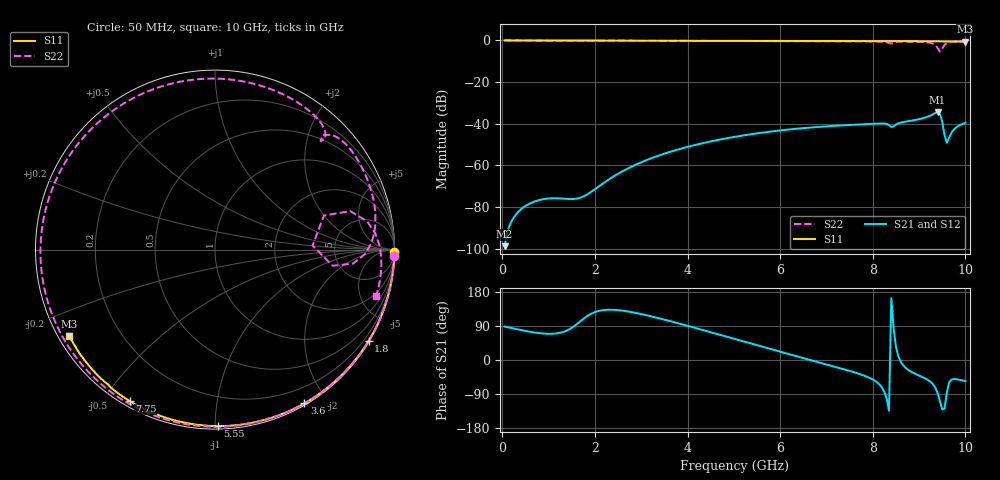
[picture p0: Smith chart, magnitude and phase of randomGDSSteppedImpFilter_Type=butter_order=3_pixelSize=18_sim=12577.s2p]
! freq	dB(S11)	phase(S11)	dB(S12)	phase(S12)
!  dB(S21)	phase(S21)	dB(S22)	phase(S22)
!S-par simulation data
#  GHz  S  DB  R 50
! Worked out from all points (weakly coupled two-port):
!   200 points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, 50 MHz to 10 GHz, reference 50 ohm
!   highest |S21| = -34.44 dB at 9.4 GHz (marker M1); lowest = -98.8 dB at 50 MHz (marker M2)
!   lowest |S11| = -0.5 dB at 10 GHz (marker M3), VSWR 34.46, Z = 1.56 - j13.7 ohm
!   |S11| at or under -10 dB: nowhere
!   |S22| runs from -5.3 to 0.0 dB; largest |S21 - S12| = 0
!   S11 on the Smith chart (normalised r, x): 50 MHz: open; 1.8 GHz: 0.03, -3.65; 3.6 GHz: 0.02, -1.74; 5.55 GHz: 0.02, -1.02; 7.75 GHz: 0.02, -0.58; 10 GHz: 0.03, -0.27
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0.05  -0.00 -0.9  -98.83 88.1  -98.83 88.1  -0.00 -2.0
0.45  -0.01 -7.8  -80.29 77.9  -80.29 77.9  -0.02 -18.0
0.8  -0.02 -13.8  -76.65 70.9  -76.65 70.9  -0.03 -31.9
1.75  -0.04 -29.8  -74.97 108.4  -74.97 108.4  -0.08 -68.2
1.8  -0.04 -30.7  -74.40 113.0  -74.40 113.0  -0.09 -70.1
2.55  -0.06 -43.0  -63.40 130.9  -63.40 130.9  -0.12 -97.3
3.4  -0.08 -56.6  -55.13 109.7  -55.13 109.7  -0.16 -126.8
3.6  -0.08 -59.8  -53.67 103.4  -53.67 103.4  -0.17 -133.6
5.05  -0.13 -81.7  -46.18 54.5  -46.18 54.5  -0.25 177.0
5.55  -0.15 -89.0  -44.48 37.3  -44.48 37.3  -0.28 159.3
6.7  -0.20 -105.2  -41.75 -1.7  -41.75 -1.7  -0.37 116.1
7.75  -0.28 -119.4  -40.32 -38.4  -40.32 -38.4  -0.47 72.6
8.35  -0.34 -127.5  -40.59 -134.0  -40.59 -134.0  -1.19 45.2
8.55  -0.36 -130.0  -39.81 10.5  -39.81 10.5  -0.62 41.3
9.1  -0.40 -137.3  -37.25 -46.7  -37.25 -46.7  -0.78 12.1
9.3  -0.42 -139.9  -35.44 -63.9  -35.44 -63.9  -1.55 -1.6
9.4  -0.43 -141.2  -34.44 -87.4  -34.44 -87.4  -3.59 -7.8
9.45  -0.43 -141.9  -35.30 -109.3  -35.30 -109.3  -5.29 2.4
9.5  -0.44 -142.6  -39.06 -130.3  -39.06 -130.3  -3.93 17.4
9.6  -0.45 -143.9  -49.16 -85.9  -49.16 -85.9  -1.29 10.5
9.75  -0.47 -145.9  -42.81 -50.3  -42.81 -50.3  -0.67 -2.0
10  -0.50 -149.3  -39.58 -55.5  -39.58 -55.5  -0.58 -16.1
